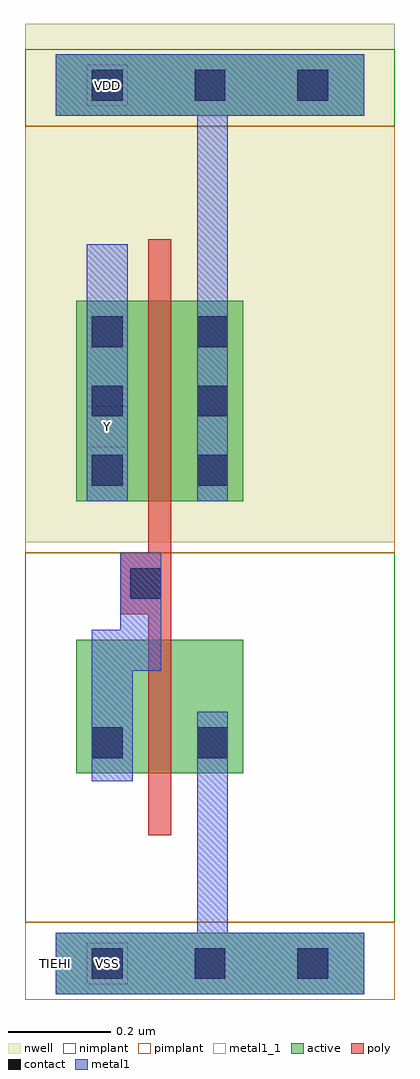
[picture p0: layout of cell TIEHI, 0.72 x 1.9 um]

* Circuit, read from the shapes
.subckt TIEHI VDD VSS Y
M1 VSS n1 n1 VSS nfet w=0.26u l=0.045u
M2 VDD n1 Y VDD pfet w=0.39u l=0.045u
.ends

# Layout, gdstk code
import gdstk
lib = gdstk.Library(unit=1e-6, precision=5e-10)
def R(c, l, rs):  # rectangles x0, y0, x1, y1
    for r in rs: c.add(gdstk.rectangle(r[:2], r[2:], *l))
def A(c, l, x, y, w, h, nx, ny, dx, dy):  # array of equal rectangles
    R(c, l, [(x+i*dx, y+j*dy, x+i*dx+w, y+j*dy+h) for i in range(nx) for j in range(ny)])
def P(c, l, *ps):  # polygons
    for p in ps: c.add(gdstk.Polygon(p, *l))
active = (1, 0)
nwell = (2, 0)
poly = (3, 0)
nimplant = (4, 0)
pimplant = (5, 0)
contact = (6, 0)
metal1 = (7, 0)
metal1_1 = (7, 1)

tiehi = lib.new_cell('TIEHI')
R(tiehi, active, [(0,-0.06,0.6,0.06), (0.04,0.37,0.365,0.63), (0.04,0.9,0.365,1.29), (0,1.65,0.6,1.77)])
R(tiehi, nwell, [(-0.06,0.82,0.66,1.83)])
P(tiehi, poly, [(0.18,1.41),(0.225,1.41),(0.225,0.25),(0.18,0.25),(0.18,0.68),(0.125,0.68),(0.125,0.8),(0.18,0.8)])
R(tiehi, nimplant, [(-0.06,0.08,0.66,0.8), (-0.06,1.63,0.66,1.78)])
R(tiehi, pimplant, [(-0.06,-0.07,0.66,0.08), (-0.06,0.8,0.66,1.63)])
A(tiehi, contact, 0.07, -0.03, 0.06, 0.06, 3, 2, 0.2, 1.71)
A(tiehi, contact, 0.07, 0.93, 0.06, 0.06, 1, 3, 0, 0.135)
A(tiehi, contact, 0.275, 0.93, 0.06, 0.06, 1, 3, 0, 0.135)
R(tiehi, contact, [(0.07,0.4,0.13,0.46), (0.275,0.4,0.335,0.46), (0.145,0.71,0.205,0.77)])
R(tiehi, metal1, [(0.06,0.9,0.14,1.4)])
P(tiehi, metal1, [(0.125,0.8),(0.205,0.8),(0.205,0.57),(0.15,0.57),(0.15,0.355),(0.07,0.355),(0.07,0.65),(0.125,0.65)],
  [(0.275,0.49),(0.335,0.49),(0.335,0.06),(0.6,0.06),(0.6,-0.06),(0,-0.06),(0,0.06),(0.275,0.06)],
  [(0,1.77),(0.6,1.77),(0.6,1.65),(0.335,1.65),(0.335,0.9),(0.275,0.9),(0.275,1.65),(0,1.65)])
R(tiehi, metal1_1, [(0.06,-0.04,0.14,0.04), (0.06,1.005,0.14,1.085), (0.06,1.67,0.14,1.75)])
tiehi.add(gdstk.Label('Y', (0.1,1.045), layer=7, texttype=1))
tiehi.add(gdstk.Label('VDD', (0.1,1.71), layer=7, texttype=1))
tiehi.add(gdstk.Label('VSS', (0.1,0), layer=7, texttype=1))
tiehi.add(gdstk.Label('TIEHI', (0,0), layer=63, texttype=0))

lib.write_gds('TIEHI.gds')
